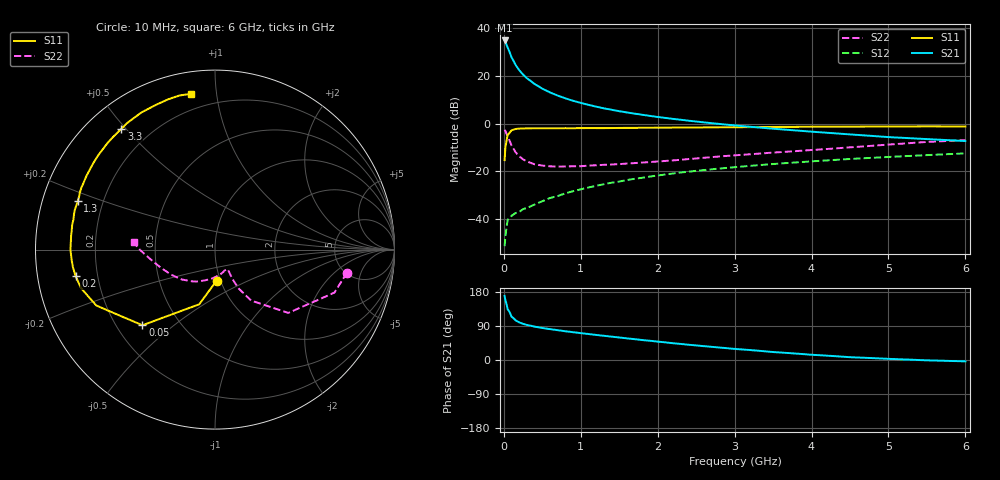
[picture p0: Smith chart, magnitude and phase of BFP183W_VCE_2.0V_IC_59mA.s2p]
! (c) 2017  Infineon Technologies AG, Munich
! Infineon Technologies  Discrete & RF Semiconductors
! BFP183W
! VCE =  2.0 V,  IC =  59 mA
! Common Emitter S-Parameters:  Jan 2017
# GHz  S  MA  R  50
!  f  S11  S21  S12  S22
! GHz  MAG  ANG  MAG  ANG  MAG  ANG  MAG  ANG
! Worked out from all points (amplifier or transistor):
!   77 points, 10 MHz to 6 GHz, reference 50 ohm
!   highest |S21| = 35.0 dB at 10 MHz (marker M1)
!   |S21| within 3 dB of that: start of sweep to 50.06 MHz
!   unconditionally stable (mu >= 1): start of sweep to 17.08 MHz; 266.1 MHz to end of sweep
!   at 130 MHz: K = 0.67, MSG = 32.0 dB, |S12| = -37.9 dB
!   at 2.2 GHz: K = 1.31, MAG = 8.1 dB, |S12| = -20.9 dB
!   at 6 GHz: K = 1.12, MAG = 0.5 dB, |S12| = -12.4 dB
!   S11 on the Smith chart (normalised r, x): 10 MHz: 0.96, -0.34; 50 MHz: 0.31, -0.39; 200 MHz: 0.12, -0.09; 1.3 GHz: 0.11, +0.17; 3.3 GHz: 0.10, +0.49; 6 GHz: 0.11, +0.85
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0.01  0.1727 -86.9  56 169.1  0.0027 74.1  0.7466 -9.9
0.02  0.3172 -106.1  52.99 157.7  0.0042 74.2  0.7072 -19.8
0.05  0.5842 -133.8  39.67 133.6  0.0096 47.1  0.5397 -40.8
0.1  0.7311 -154.8  24.74 114.0  0.0117 44.5  0.3481 -54.7
0.15  0.7765 -163.9  17.45 105.0  0.0133 44.4  0.2555 -58.6
0.2  0.7906 -169.2  13.32 99.3  0.0141 43.5  0.2079 -59.2
0.25  0.7977 -173.0  10.77 95.4  0.0162 47.6  0.1792 -58.9
0.3  0.8007 -175.8  9.005 92.5  0.0171 49.5  0.1611 -58.4
0.4  0.8052 -179.8  6.813 88.0  0.0202 55.0  0.1411 -57.5
0.5  0.8045 177.1  5.453 84.5  0.0237 58.9  0.1327 -57.6
0.6  0.8052 174.6  4.554 81.4  0.0277 61.3  0.1279 -58.9
0.7  0.8053 172.4  3.901 78.7  0.0304 63.7  0.126 -59.8
0.9  0.8062 168.0  3.033 73.4  0.0384 66.3  0.1281 -64.5
1.1  0.8119 164.2  2.495 68.6  0.0461 68.0  0.1324 -69.1
1.3  0.8107 160.5  2.111 63.9  0.054 68.0  0.1376 -74.3
1.6  0.8206 155.2  1.727 57.1  0.066 67.9  0.1461 -83.1
2.1  0.829 146.3  1.327 46.5  0.0863 66.0  0.1659 -99.3
3.1  0.8476 130.7  0.894 27.8  0.1266 59.8  0.223 -128.4
3.3  0.8518 127.8  0.839 24.6  0.1348 58.4  0.2352 -133.5
4.1  0.8672 117.0  0.665 12.7  0.1664 52.3  0.2881 -152.8
5.1  0.8773 106.5  0.515 2.3  0.2047 44.2  0.3753 -173.6
6  0.8784 98.6  0.434 -3.6  0.239 36.8  0.4549 175.0
